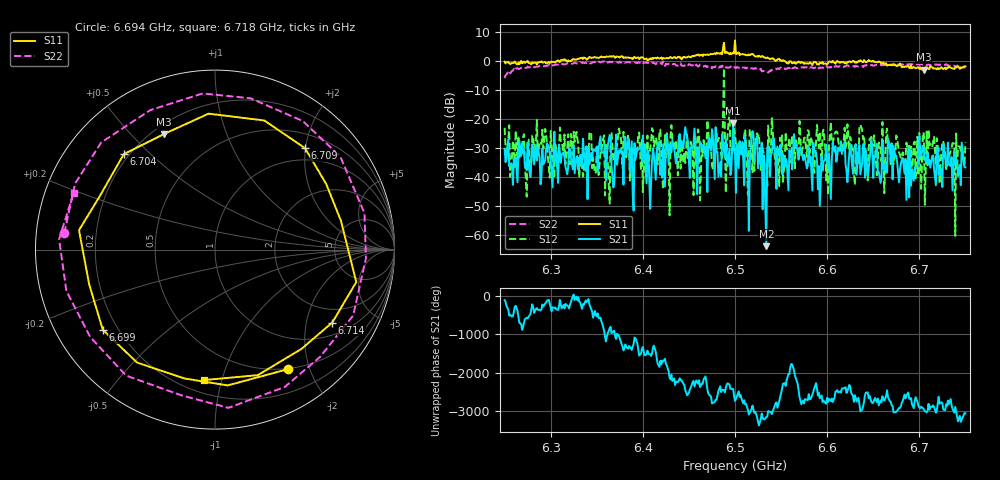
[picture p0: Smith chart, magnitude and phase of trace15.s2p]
# Hz S RI R 50
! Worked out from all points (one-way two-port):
!   401 points, 6.25 GHz to 6.75 GHz, reference 50 ohm
!   highest |S21| = -21.35 dB at 6.498 GHz (marker M1); lowest = -63.7 dB at 6.534 GHz (marker M2)
!   lowest |S11| = -3.1 dB at 6.705 GHz (marker M3), VSWR 5.75, Z = 12.2 + j31.1 ohm
!   |S11| at or under -10 dB: nowhere
!   |S22| runs from -6.0 to -0.2 dB; largest |S21 - S12| = 0.72
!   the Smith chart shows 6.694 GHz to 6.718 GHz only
!   S11 on the Smith chart (normalised r, x): 6.694 GHz: 0.49, -1.68; 6.699 GHz: 0.14, -0.31; 6.704 GHz: 0.18, +0.42; 6.709 GHz: 0.76, +1.99; 6.714 GHz: 1.43, -2.85; 6.718 GHz: 0.28, -0.88
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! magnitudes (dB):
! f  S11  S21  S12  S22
! 6.25 GHz  -0.3  -30.2  -23.1  -6.0
! 6.275 GHz  -0.1  -28.1  -27.1  -2.0
! 6.282 GHz  -0.7  -35.7  -30.7  -2.3
! 6.328 GHz  0.4  -33.3  -24.5  -0.9
! 6.334 GHz  1.0  -36.9  -32.2  -0.7
! 6.418 GHz  0.7  -27.7  -25.0  -1.0
! 6.498 GHz  2.8  -21.4  -29.4  -1.8
! 6.5 GHz  6.9  -32.2  -25.3  -2.4
! 6.512 GHz  1.9  -29.9  -28.5  -2.8
! 6.521 GHz  1.7  -34.6  -37.9  -2.7
! 6.534 GHz  0.9  -63.7  -34.9  -3.5
! 6.541 GHz  0.9  -28.0  -24.3  -3.2
! 6.584 GHz  -1.5  -44.6  -28.2  -2.3
! 6.668 GHz  -1.4  -29.2  -28.9  -1.4
! 6.694 GHz  -2.1  -41.2  -28.4  -1.5
! 6.699 GHz  -2.3  -33.6  -39.5  -1.2
! 6.704 GHz  -2.7  -29.4  -24.5  -1.3
! 6.705 GHz  -3.1  -30.3  -25.1  -1.5
! 6.709 GHz  -2.4  -32.0  -35.9  -1.3
! 6.714 GHz  -2.3  -32.7  -29.7  -1.4
! 6.718 GHz  -2.7  -42.8  -35.8  -1.4
! 6.75 GHz  -1.9  -36.6  -28.1  -2.4
